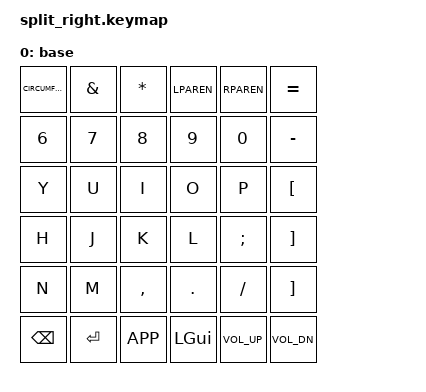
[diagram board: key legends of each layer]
#include <dt-bindings/zmk/bt.h>
/ {
  keymap {
    compatible = "zmk,keymap";
    layers = <&base>;

    base {
      bindings = <
        /* R0 */ &kp CIRCUMFLEX &kp AMPERSAND &kp ASTERISK &kp LPAREN &kp RPAREN &kp EQUAL
        /* R1 */ &kp N6         &kp N7       &kp N8       &kp N9     &kp N0     &kp MINUS
        /* R2 */ &kp Y          &kp U        &kp I        &kp O      &kp P      &kp LBKT
        /* R3 */ &kp H          &kp J        &kp K        &kp L      &kp SEMI   &kp RBKT
        /* R4 */ &kp N          &kp M        &kp COMMA    &kp DOT    &kp SLASH  &kp RBKT
        /* R5 */ &kp BSPC       &kp ENTER    &kp APP      &kp LGUI   &kp C_VOL_UP &kp C_VOL_DN
      >;
    };
  };
};
